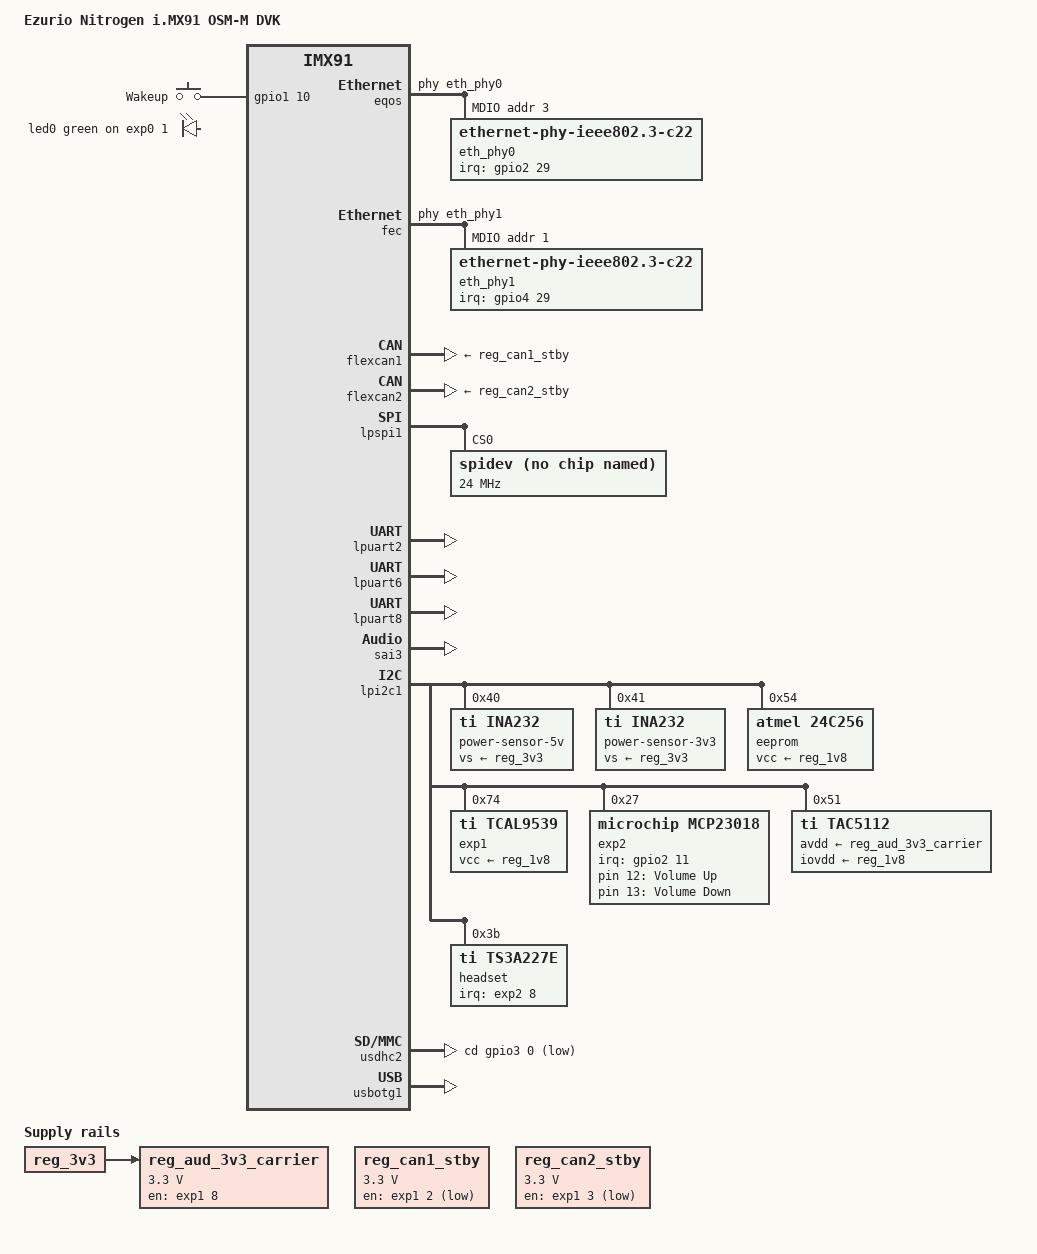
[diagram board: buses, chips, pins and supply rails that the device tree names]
// SPDX-License-Identifier: GPL-2.0-or-later OR MIT
/*
 * Nitrogen i.MX93 OSM-M Carrier (DVK)
 *
 * Copyright 2026 Ezurio LLC
 */

/dts-v1/;

#include <dt-bindings/leds/common.h>
#include <dt-bindings/input/input.h>
#include <dt-bindings/net/ti-dp83867.h>

#include "nitrogen-imx91-osm-m.dtsi"

/ {
	model = "Ezurio Nitrogen i.MX91 OSM-M DVK";
	compatible = "summit,nitrogen-imx91-osm-m-dvk", "summit,nitrogen-imx91-osm-m", "fsl,imx91";

	aliases {
		gpio5 = &exp1;
		gpio6 = &exp2;
	};

	reg_can1_stby: regulator-can1-stby {
		compatible = "regulator-fixed";
		regulator-name = "reg_can1_stby";
		regulator-min-microvolt = <3300000>;
		regulator-max-microvolt = <3300000>;

		gpios = <&exp1 2 GPIO_ACTIVE_HIGH>;	/* CAN_A_STB (HIGH=standby on TCAN1046) */
		enable-active-low;
	};

	reg_can2_stby: regulator-can2-stby {
		compatible = "regulator-fixed";
		regulator-name = "reg_can2_stby";
		regulator-min-microvolt = <3300000>;
		regulator-max-microvolt = <3300000>;

		gpio = <&exp1 3 GPIO_ACTIVE_HIGH>;	/* CAN_B_STB (HIGH=standby on TCAN1046) */
		enable-active-low;
	};

	reg_aud_3v3_carrier: regulator-aud-3v3-carrier {
		compatible = "regulator-fixed";
		regulator-name = "reg_aud_3v3_carrier";
		regulator-min-microvolt = <3300000>;
		regulator-max-microvolt = <3300000>;
		vin-supply = <&reg_3v3>;
		gpio = <&exp1 8 GPIO_ACTIVE_HIGH>;
		enable-active-high;
		regulator-always-on;
	};

	codec_audio: sound {
		compatible = "simple-audio-card";

		simple-audio-card,bitclock-master = <&dailink0_master>;
		simple-audio-card,frame-master = <&dailink0_master>;

		simple-audio-card,name = "ti,tac5x1x-soundcard";
		simple-audio-card,format = "i2s";

		simple-audio-card,widgets =
			"Headphone", "Headphone Jack",
			"Line",      "Line In",
			"Line",      "Line Out";

		simple-audio-card,routing =
			"Headphone Jack", "OUT1",
			"Headphone Jack", "OUT2",
			"AIN1", "Line In",
			"AIN2", "Line In",
			"Line Out", "OUT1",
			"Line Out", "OUT2";

		simple-audio-card,aux-devs = <&headset>;

		dailink0_master: simple-audio-card,cpu {
			sound-dai = <&sai3>;
			clocks = <&clk IMX93_CLK_SAI3_GATE>;
			bitclock-master;
			frame-master;
		};

		simple-audio-card,codec {
			sound-dai = <&tac5112>;
		};
	};

	dvk_keys {
		compatible = "gpio-keys";

		pinctrl-names = "default";
		pinctrl-0 = <&pinctrl_osm_gpio_a_7>;

		volume-up {
			label = "Volume Up";
			interrupts-extended = <&exp2 12 IRQ_TYPE_EDGE_FALLING>;
			interrupt-names = "irq";
			linux,code = <KEY_VOLUMEUP>;

			//gpios = <&exp2 12 (GPIO_ACTIVE_LOW | GPIO_PULL_UP)>;
			//wakeup-event-action = <EV_ACT_ASSERTED>;
		};

		volume-down {
			label = "Volume Down";
			interrupts-extended = <&exp2 13 IRQ_TYPE_EDGE_FALLING>;
			interrupt-names = "irq";
			linux,code = <KEY_VOLUMEDOWN>;

			//gpios = <&exp2 13 (GPIO_ACTIVE_LOW | GPIO_PULL_UP)>;
			//wakeup-event-action = <EV_ACT_ASSERTED>;
		};

		wakeup {
			label = "Wakeup";
			interrupts-extended = <&gpio1 10 IRQ_TYPE_EDGE_FALLING>; /* GPIO_A_7 / WAKEUP_BUTTON */
			interrupt-names = "irq";
			linux,code = <KEY_WAKEUP>;
			wakeup-source;

			//gpios = <&gpio1 10 GPIO_ACTIVE_LOW>;
			//wakeup-event-action = <EV_ACT_ASSERTED>;
		};
	};

	leds {
		compatible = "gpio-leds";

		led0 {
			color = <LED_COLOR_ID_GREEN>;
			gpios = <&exp0 1 GPIO_ACTIVE_HIGH>;
			default-state = "off";
		};
	};
};

&eqos { /* ETH_A */
	status = "okay";

	phy-handle = <&eth_phy0>;

	mdio {
		reset-gpios = <&exp0 4 GPIO_ACTIVE_LOW>;	/* ETH_A_RST */
		reset-delay-us = <10000>;
		reset-post-delay-us = <20000>;

		eth_phy0: ethernet-phy@3 {
			compatible = "ethernet-phy-ieee802.3-c22";
			reg = <3>;

			pinctrl-names = "default";
			pinctrl-0 = <&pinctrl_osm_gpio_a_2>;	/* ETH_A_INT */
			interrupts-extended = <&gpio2 29 IRQ_TYPE_LEVEL_LOW>;	/* GPIO_A_2 / ETH_A_INT */

			ti,rx-internal-delay = <DP83867_RGMIIDCTL_2_00_NS>;
			ti,tx-internal-delay = <DP83867_RGMIIDCTL_2_00_NS>;
			tx-fifo-depth = <DP83867_PHYCR_FIFO_DEPTH_4_B_NIB>;
			rx-fifo-depth = <DP83867_PHYCR_FIFO_DEPTH_4_B_NIB>;
			ti,clk-output-sel = <DP83867_CLK_O_SEL_OFF>;
		};
	};
};

&fec { /* ETH_B */
	status = "okay";

	phy-handle = <&eth_phy1>;

	mdio {
		reset-gpios = <&exp0 22 GPIO_ACTIVE_LOW>;	/* ETH_B_RST */
		reset-delay-us = <10000>;
		reset-post-delay-us = <20000>;

		eth_phy1: ethernet-phy@1 {
			compatible = "ethernet-phy-ieee802.3-c22";
			reg = <1>;

			pinctrl-names = "default";
			pinctrl-0 = <&pinctrl_osm_gpio_c_1>;	/* ETH_B_INTR */
			interrupts-extended = <&gpio4 29 IRQ_TYPE_LEVEL_LOW>;	/* GPIO_C_1 / ETH_B_INTR */

			ti,rx-internal-delay = <DP83867_RGMIIDCTL_2_00_NS>;
			ti,tx-internal-delay = <DP83867_RGMIIDCTL_2_00_NS>;
			tx-fifo-depth = <DP83867_PHYCR_FIFO_DEPTH_4_B_NIB>;
			rx-fifo-depth = <DP83867_PHYCR_FIFO_DEPTH_4_B_NIB>;
			ti,clk-output-sel = <DP83867_CLK_O_SEL_OFF>;
		};
	};
};

&flexcan1 { /* CAN_A */
	status = "okay";
	xceiver-supply = <&reg_can1_stby>;
};

&flexcan2 { /* CAN_B */
	status = "okay";
	xceiver-supply = <&reg_can2_stby>;
};

&lpspi1 { /* SPI_A */
	status = "okay";

	spidev@0 {
		compatible = "rohm,dh2228fv";
		spi-max-frequency = <24000000>;
		reg = <0>;
	};
};

&lpuart2 { /* UART_C */
	status = "okay";
};

&lpuart6 { /* UART_A */
	status = "okay";
};

&lpuart8 { /* UART_B */
	status = "okay";
};

&sai3 { /* I2S_A / TAC5112 */
	status = "okay";

	assigned-clocks = <&clk IMX93_CLK_SAI3>;
	assigned-clock-parents = <&clk IMX93_CLK_AUDIO_PLL>;
	assigned-clock-rates = <24576000>;

	fsl,sai-mclk-direction-output;
};

&lpi2c1 { /* I2C_A */
	status = "okay";

	power-sensor-5v@40 {
		compatible = "ti,ina232"; /* TI, INA232AIDDFR */
		reg = <0x40>;
		vs-supply = <&reg_3v3>;
		shunt-resistor = <33000>; /* 0.033 Ohms */
	};

	power-sensor-3v3@41 {
		compatible = "ti,ina232"; /* TI, INA232AIDDFR */
		reg = <0x41>;
		vs-supply = <&reg_3v3>;
		shunt-resistor = <33000>; /* 0.033 Ohms */
	};

	eeprom@54 {
		/* U53, Giantec, GT24C256C-2GLI-TR */
		compatible = "atmel,24c256";
		reg = <0x54>;
		vcc-supply = <&reg_1v8>;
	};

	exp1: gpio@74 {
		/* U35, TI, TCAL9539RTWR */
		compatible = "ti,tcal9539", "nxp,pcal9535";
		reg = <0x74>;

		vcc-supply = <&reg_1v8>;

		#gpio-cells = <2>;
		gpio-controller;

		gpio-line-names =
			"USB_C_OEn_P00", "USB_D_OEn_P01",
			"CAN_A_STB", "CAN_B_STB",
			"M2_WDISABLE1#", "M2_WDISABLE2#",
			"CSI_PWR_CTL_A", "CSI_PWR_CTL_B",
			"AUD_PWR_EN", "M2_Vendor_DF38",
			"CSI_PWR_CTL_C", "CHGR_CE#",
			"M2_POWER_EN", "CSI_PWR_CTL_B",
			"SDIO_A_SEL", "NC";
	};

	exp2: gpio@27 {
		/* U21, Microchip, MCP23018 */
		compatible = "microchip,mcp23018";
		reg = <0x27>;

		#gpio-cells = <2>;
		gpio-controller;

		gpio-line-names =
			"DSI_A_INT", "DSI_A_HPD",
			"LVDS_D_INT", "LVDS_D_HPD",
			"LVDS_E_INT", "LVDS_E_HPD",
			"RGB_INT", "RGB_HDMI_HPD",
			"ACD_nINT", "M2_UART_WAKE",
			"M2_SD_HOST_WAKE", "CHRGR_INTn",
			"VOL_UP", "VOL_DOWN",
			"", "DSI_A_IRQ";

		pinctrl-names = "default";
		pinctrl-0 = <&pinctrl_osm_gpio_a_3>;

		#interrupt-cells = <2>;
		interrupt-controller;
		microchip,irq-mirror;

		interrupts-extended = <&gpio2 11 IRQ_TYPE_EDGE_FALLING>; /* GPIO_A_3 */
		interrupt-names = "irq";
	};

	tac5112: audio-codec@51 {
		#sound-dai-cells = <0>;
		compatible = "ti,tac5112";
		reg = <0x51>;

		ti,vref = <0>;	/* 2.75V */
		ti,micbias-vg = <0>; /* same as Vref */
		ti,gpios-func = <0>, <0>, <0>;
		ti,gpi1-func = <0>;

		avdd-supply = <&reg_aud_3v3_carrier>;
		iovdd-supply = <&reg_1v8>;
	};

	headset: ts3a227e@3b {
		compatible = "ti,ts3a227e";
		reg = <0x3b>;

		interrupts-extended = <&exp2 8 IRQ_TYPE_EDGE_FALLING>;
		interrupt-names = "irq";
		ti,micbias = <6>;	/* 2.7V, must match mic bias from codec */
	};
};

&usdhc2 { /* SDIO_A (uSD / M.2 socket) */
	pinctrl-0 = <&pinctrl_usdhc2>, <&pinctrl_usdhc2_gpio>;
	pinctrl-1 = <&pinctrl_usdhc2_100mhz>, <&pinctrl_usdhc2_gpio>;
	pinctrl-2 = <&pinctrl_usdhc2_200mhz>, <&pinctrl_usdhc2_gpio>;
	pinctrl-3 = <&pinctrl_usdhc2_sleep>, <&pinctrl_usdhc2_gpio_sleep>;

	cd-gpios = <&gpio3 0 GPIO_ACTIVE_LOW>;
	fsl,cd-gpio-wakeup-disable;

	status = "okay";
};

&usbotg1 { /* USB_A */
	status = "okay";

	hnp-disable;
	srp-disable;
	adp-disable;
	disable-over-current;
};
